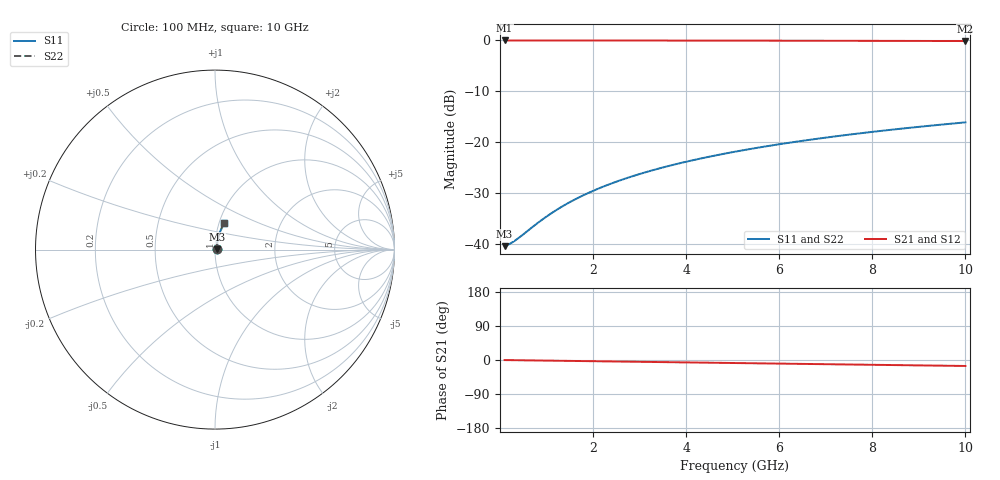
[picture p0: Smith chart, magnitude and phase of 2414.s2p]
# Hz S RI R 50.00
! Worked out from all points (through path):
!   100 points, 100 MHz to 10 GHz, reference 50 ohm
!   highest |S21| = -0.08 dB at 100 MHz (marker M1); lowest = -0.2 dB at 10 GHz (marker M2)
!   group delay of S21, straight-line fit = 4.38 ps
!   lowest |S11| = -40.4 dB at 100 MHz (marker M3), VSWR 1.02, Z = 51 + j0.159 ohm
!   |S11| at or under -10 dB: start of sweep to end of sweep
!   |S22| runs from -40.4 to -16.1 dB; largest |S21 - S12| = 0
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1e8  0.00942 0.00156  0.9906 -0.00275  0.9906 -0.00275  0.00942 0.00156
2e8  0.0095 0.00313  0.9905 -0.0055  0.9905 -0.0055  0.0095 0.00313
3e8  0.00956 0.00469  0.9904 -0.00824  0.9904 -0.00824  0.00956 0.00469
4e8  0.00963 0.00626  0.9904 -0.011  0.9904 -0.011  0.00963 0.00626
9e8  0.01 0.0141  0.9899 -0.0247  0.9899 -0.0247  0.01 0.0141
1.2e9  0.0104 0.0187  0.9895 -0.0329  0.9895 -0.0329  0.0104 0.0187
1.5e9  0.0108 0.0234  0.9891 -0.0412  0.9891 -0.0412  0.0108 0.0234
1.8e9  0.0112 0.0281  0.9885 -0.0494  0.9885 -0.0494  0.0112 0.0281
2.1e9  0.0118 0.0327  0.9879 -0.0576  0.9879 -0.0576  0.0118 0.0327
2.5e9  0.0126 0.0389  0.9869 -0.0685  0.9869 -0.0685  0.0126 0.0389
2.9e9  0.0136 0.0451  0.9858 -0.0794  0.9858 -0.0794  0.0136 0.0451
3.4e9  0.015 0.0528  0.9842 -0.093  0.9842 -0.093  0.015 0.0528
3.8e9  0.0163 0.0588  0.9827 -0.1038  0.9827 -0.1038  0.0163 0.0588
4.2e9  0.0177 0.0649  0.981 -0.1146  0.981 -0.1146  0.0177 0.0649
4.6e9  0.0192 0.0709  0.9793 -0.1254  0.9793 -0.1254  0.0192 0.0709
5.1e9  0.0213 0.0784  0.9768 -0.1388  0.9768 -0.1388  0.0213 0.0784
5.9e9  0.0251 0.0902  0.9724 -0.1601  0.9724 -0.1601  0.0251 0.0902
6.7e9  0.0294 0.1018  0.9674 -0.1812  0.9674 -0.1812  0.0294 0.1018
7.5e9  0.0342 0.1132  0.9618 -0.2021  0.9618 -0.2021  0.0342 0.1132
8.4e9  0.0401 0.1257  0.9548 -0.2253  0.9548 -0.2253  0.0401 0.1257
9.2e9  0.0459 0.1365  0.948 -0.2456  0.948 -0.2456  0.0459 0.1365
1e10  0.0521 0.1471  0.9407 -0.2656  0.9407 -0.2656  0.0521 0.1471
